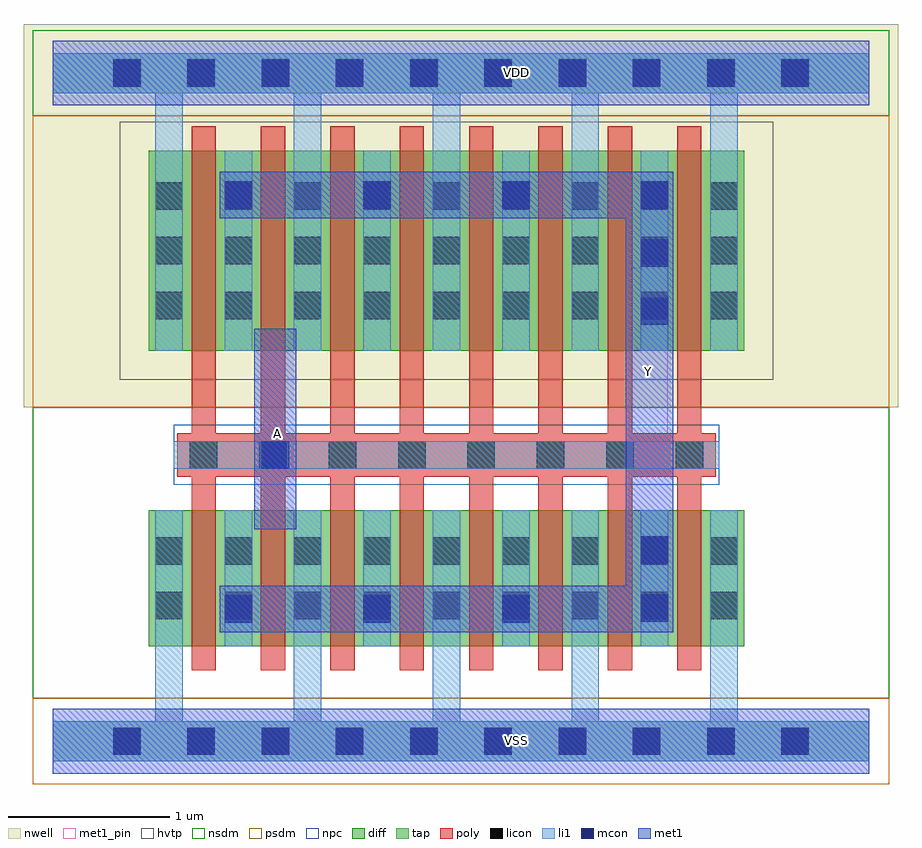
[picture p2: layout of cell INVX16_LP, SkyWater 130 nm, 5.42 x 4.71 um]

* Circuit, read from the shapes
.subckt INVX16_LP A VDD VSS Y
XM1 Y A VSS VSS sky130_fd_pr__nfet_01v8 w=0.84 l=0.15 m=8
XM2 Y A VDD VDD sky130_fd_pr__pfet_01v8_hvt w=1.24 l=0.15 m=8
.ends

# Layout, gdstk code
from math import pi, radians
import gdstk
lib = gdstk.Library(unit=1e-6, precision=1e-09)
def R(c, l, rs):  # rectangles x0, y0, x1, y1
    for r in rs: c.add(gdstk.rectangle(r[:2], r[2:], *l))
def A(c, l, x, y, w, h, nx, ny, dx, dy):  # array of equal rectangles
    R(c, l, [(x+i*dx, y+j*dy, x+i*dx+w, y+j*dy+h) for i in range(nx) for j in range(ny)])
def P(c, l, *ps):  # polygons
    for p in ps: c.add(gdstk.Polygon(p, *l))
nwell = (64, 20)
diff = (65, 20)
tap = (65, 44)
poly = (66, 20)
licon = (66, 44)
li1 = (67, 20)
mcon = (67, 44)
met1_pin = (68, 16)
met1 = (68, 20)
hvtp = (78, 44)
nsdm = (93, 44)
psdm = (94, 20)
npc = (95, 20)

l1m1_c_cdns_752016907001 = lib.new_cell('L1M1_C_CDNS_752016907001')
R(l1m1_c_cdns_752016907001, li1, [(-0.085,-0.165,0.085,0.165)])
R(l1m1_c_cdns_752016907001, mcon, [(-0.085,-0.085,0.085,0.085)])
R(l1m1_c_cdns_752016907001, met1, [(-0.115,-0.145,0.115,0.145)])

l1m1_c_cdns_752016907003 = lib.new_cell('L1M1_C_CDNS_752016907003')
R(l1m1_c_cdns_752016907003, li1, [(-0.165,-0.085,0.165,0.085)])
R(l1m1_c_cdns_752016907003, mcon, [(-0.085,-0.085,0.085,0.085)])
R(l1m1_c_cdns_752016907003, met1, [(-0.115,-0.145,0.115,0.145)])

l1m1_c_cdns_752016907002 = lib.new_cell('L1M1_C_CDNS_752016907002')
R(l1m1_c_cdns_752016907002, li1, [(-0.085,-0.345,0.085,0.345)])
R(l1m1_c_cdns_752016907002, mcon, [(-0.085,-0.265,0.085,-0.095), (-0.085,0.095,0.085,0.265)])
R(l1m1_c_cdns_752016907002, met1, [(-0.115,-0.325,0.115,0.325)])

pyl1con_c_cdns_752016907 = lib.new_cell('PYL1CON_C_CDNS_752016907000')
R(pyl1con_c_cdns_752016907, poly, [(-0.135,-0.165,0.135,0.165)])
R(pyl1con_c_cdns_752016907, licon, [(-0.085,-0.085,0.085,0.085)])
R(pyl1con_c_cdns_752016907, npc, [(-0.185,-0.185,0.185,0.185)])

l1m1_c_cdns_752016907005 = lib.new_cell('L1M1_C_CDNS_752016907005')
R(l1m1_c_cdns_752016907005, li1, [(-0.085,-0.525,0.085,0.525)])
A(l1m1_c_cdns_752016907005, mcon, -0.085, -0.445, 0.17, 0.17, 1, 3, 0, 0.36)
R(l1m1_c_cdns_752016907005, met1, [(-0.115,-0.505,0.115,0.505)])

invx16_lp = lib.new_cell('INVX16_LP')
R(invx16_lp, nwell, [(-0.18,2.07,5.24,4.445)])
R(invx16_lp, diff, [(0.595,0.59,4.285,1.43), (0.595,2.42,4.285,3.66)])
P(invx16_lp, poly, [(4.07,1.91),(4.02,1.91),(4.02,3.81),(3.87,3.81),(3.87,1.91),(3.59,1.91),(3.59,3.81),(3.44,3.81),(3.44,1.91),(3.16,1.91),(3.16,3.81),(3.01,3.81),(3.01,1.91),(2.73,1.91),(2.73,3.81),(2.58,3.81),(2.58,1.91),(2.3,1.91),(2.3,3.81),(2.15,3.81),(2.15,1.91),(1.87,1.91),(1.87,3.81),(1.72,3.81),(1.72,1.91),(1.44,1.91),(1.44,3.81),(1.29,3.81),(1.29,1.91),(1.01,1.91),(1.01,3.81),(0.86,3.81),(0.86,1.91),(0.77,1.91),(0.77,1.64),(0.86,1.64),(0.86,0.44),(1.01,0.44),(1.01,1.64),(1.29,1.64),(1.29,0.44),(1.44,0.44),(1.44,1.64),(1.72,1.64),(1.72,0.44),(1.87,0.44),(1.87,1.64),(2.15,1.64),(2.15,0.44),(2.3,0.44),(2.3,1.64),(2.58,1.64),(2.58,0.44),(2.73,0.44),(2.73,1.64),(3.01,1.64),(3.01,0.44),(3.16,0.44),(3.16,1.64),(3.44,1.64),(3.44,0.44),(3.59,0.44),(3.59,1.64),(3.87,1.64),(3.87,0.44),(4.02,0.44),(4.02,1.64),(4.07,1.64)])
A(invx16_lp, licon, 0.375, -0.085, 0.17, 0.17, 10, 2, 0.46, 4.14)
A(invx16_lp, licon, 0.635, 0.755, 0.17, 0.17, 9, 2, 0.43, 0.34)
A(invx16_lp, licon, 0.635, 2.615, 0.17, 0.17, 9, 3, 0.43, 0.34)
A(invx16_lp, li1, 1.065, 0.59, 0.17, 0.84, 4, 1, 0.86, 0)
A(invx16_lp, li1, 1.065, 2.42, 0.17, 1.24, 4, 1, 0.86, 0)
P(invx16_lp, li1, [(5.06,4.265),(0,4.265),(0,4.015),(0.635,4.015),(0.635,2.42),(0.805,2.42),(0.805,4.015),(1.495,4.015),(1.495,2.42),(1.665,2.42),(1.665,4.015),(2.355,4.015),(2.355,2.42),(2.525,2.42),(2.525,4.015),(3.215,4.015),(3.215,2.42),(3.385,2.42),(3.385,4.015),(4.075,4.015),(4.075,2.42),(4.245,2.42),(4.245,4.015),(5.06,4.015)],
  [(5.06,0.125),(4.245,0.125),(4.245,1.43),(4.075,1.43),(4.075,0.125),(3.385,0.125),(3.385,1.43),(3.215,1.43),(3.215,0.125),(2.525,0.125),(2.525,1.43),(2.355,1.43),(2.355,0.125),(1.665,0.125),(1.665,1.43),(1.495,1.43),(1.495,0.125),(0.805,0.125),(0.805,1.43),(0.635,1.43),(0.635,0.125),(0,0.125),(0,-0.125),(5.06,-0.125)])
A(invx16_lp, mcon, 0.375, -0.085, 0.17, 0.17, 10, 2, 0.46, 4.14)
R(invx16_lp, met1_pin, [(1.25,1.315,1.51,2.555), (3.55,1.695,3.81,2.935)])
P(invx16_lp, met1, [(3.845,3.53),(1.12,3.53),(1.12,3.24),(3.55,3.24),(3.55,0.965),(1.12,0.965),(1.12,0.675),(3.845,0.675)])
R(invx16_lp, hvtp, [(0.415,2.24,4.465,3.84)])
R(invx16_lp, nsdm, [(-0.125,0.265,5.185,2.07), (-0.125,3.875,5.185,4.405)])
R(invx16_lp, psdm, [(-0.125,-0.265,5.185,0.265), (-0.125,2.07,5.185,3.875)])
R(invx16_lp, npc, [(0.75,1.59,4.13,1.96)])
invx16_lp.add(gdstk.FlexPath([(0.75,1.775),(4.13,1.775)], 0.17, ends="flush", simple_path=True, layer=67, datatype=20))  # li1
invx16_lp.add(gdstk.FlexPath([(0,4.14),(5.06,4.14)], 0.4, ends="flush", simple_path=True, layer=68, datatype=16))  # met1_pin
invx16_lp.add(gdstk.FlexPath([(0,0),(5.06,0)], 0.4, ends="flush", simple_path=True, layer=68, datatype=16))  # met1_pin
invx16_lp.add(gdstk.FlexPath([(0,4.14),(5.06,4.14)], 0.4, ends="flush", simple_path=True, layer=68, datatype=20))  # met1
invx16_lp.add(gdstk.FlexPath([(0,0),(5.06,0)], 0.4, ends="flush", simple_path=True, layer=68, datatype=20))  # met1
invx16_lp.add(gdstk.FlexPath([(1.38,1.315),(1.38,2.555)], 0.26, ends="flush", simple_path=True, layer=68, datatype=20))  # met1
invx16_lp.add(gdstk.FlexPath([(0,4.14),(5.06,4.14)], 0.25, ends="flush", simple_path=True, layer=65, datatype=44))  # tap
invx16_lp.add(gdstk.FlexPath([(0,0),(5.06,0)], 0.25, ends="flush", simple_path=True, layer=65, datatype=44))  # tap
invx16_lp.add(gdstk.Reference(l1m1_c_cdns_752016907001, (2.87,3.385)))
invx16_lp.add(gdstk.Reference(l1m1_c_cdns_752016907001, (1.15,0.82)))
invx16_lp.add(gdstk.Reference(l1m1_c_cdns_752016907001, (2.01,3.385)))
invx16_lp.add(gdstk.Reference(l1m1_c_cdns_752016907001, (2.87,0.82)))
invx16_lp.add(gdstk.Reference(l1m1_c_cdns_752016907001, (1.15,3.385)))
invx16_lp.add(gdstk.Reference(l1m1_c_cdns_752016907001, (2.01,0.82)))
invx16_lp.add(gdstk.Reference(l1m1_c_cdns_752016907003, (1.38,1.775), x_reflection=True))
invx16_lp.add(gdstk.Reference(l1m1_c_cdns_752016907002, (3.73,1.005)))
invx16_lp.add(gdstk.Reference(pyl1con_c_cdns_752016907, (3.945,1.775), rotation=3*pi/2, x_reflection=True))
invx16_lp.add(gdstk.Reference(pyl1con_c_cdns_752016907, (3.515,1.775), rotation=3*pi/2, x_reflection=True))
invx16_lp.add(gdstk.Reference(pyl1con_c_cdns_752016907, (3.085,1.775), rotation=3*pi/2, x_reflection=True))
invx16_lp.add(gdstk.Reference(pyl1con_c_cdns_752016907, (2.655,1.775), rotation=3*pi/2, x_reflection=True))
invx16_lp.add(gdstk.Reference(pyl1con_c_cdns_752016907, (2.225,1.775), rotation=3*pi/2, x_reflection=True))
invx16_lp.add(gdstk.Reference(pyl1con_c_cdns_752016907, (0.935,1.775), rotation=3*pi/2, x_reflection=True))
invx16_lp.add(gdstk.Reference(pyl1con_c_cdns_752016907, (1.365,1.775), rotation=3*pi/2, x_reflection=True))
invx16_lp.add(gdstk.Reference(pyl1con_c_cdns_752016907, (1.795,1.775), rotation=3*pi/2, x_reflection=True))
invx16_lp.add(gdstk.Reference(l1m1_c_cdns_752016907005, (3.73,3.025)))
invx16_lp.add(gdstk.Label('VSS', (2.875,0.005), layer=68, texttype=5))
invx16_lp.add(gdstk.Label('A', (1.395,1.91), layer=68, texttype=5))
invx16_lp.add(gdstk.Label('Y', (3.695,2.29), layer=68, texttype=5))
invx16_lp.add(gdstk.Label('VDD', (2.875,4.145), layer=68, texttype=5))

lib.write_gds('INVX16_LP.gds')
